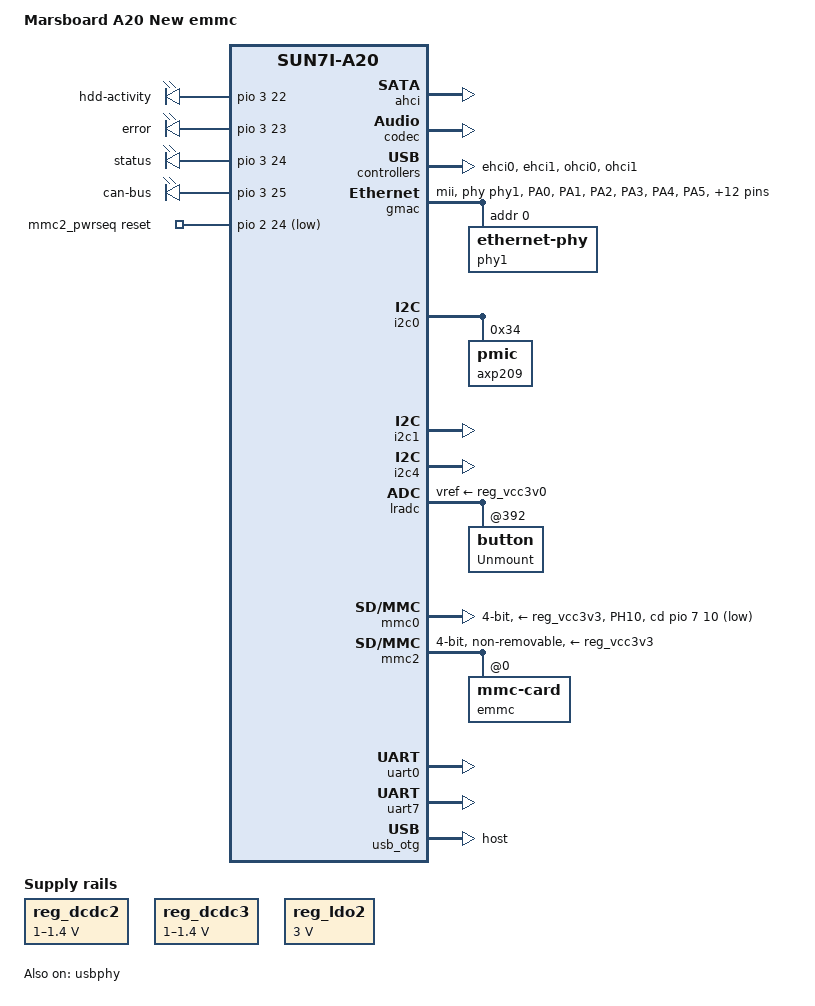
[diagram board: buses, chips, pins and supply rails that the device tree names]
/*
 * Copyright 2013 Maxime Ripard
 *
 * Maxime Ripard <maxime.ripard@free-electrons.com>
 *
 * This file is dual-licensed: you can use it either under the terms
 * of the GPL or the X11 license, at your option. Note that this dual
 * licensing only applies to this file, and not this project as a
 * whole.
 *
 *  a) This file is free software; you can redistribute it and/or
 *     modify it under the terms of the GNU General Public License as
 *     published by the Free Software Foundation; either version 2 of the
 *     License, or (at your option) any later version.
 *
 *     This file is distributed in the hope that it will be useful,
 *     but WITHOUT ANY WARRANTY; without even the implied warranty of
 *     MERCHANTABILITY or FITNESS FOR A PARTICULAR PURPOSE.  See the
 *     GNU General Public License for more details.
 *
 * Or, alternatively,
 *
 *  b) Permission is hereby granted, free of charge, to any person
 *     obtaining a copy of this software and associated documentation
 *     files (the "Software"), to deal in the Software without
 *     restriction, including without limitation the rights to use,
 *     copy, modify, merge, publish, distribute, sublicense, and/or
 *     sell copies of the Software, and to permit persons to whom the
 *     Software is furnished to do so, subject to the following
 *     conditions:
 *
 *     The above copyright notice and this permission notice shall be
 *     included in all copies or substantial portions of the Software.
 *
 *     THE SOFTWARE IS PROVIDED "AS IS", WITHOUT WARRANTY OF ANY KIND,
 *     EXPRESS OR IMPLIED, INCLUDING BUT NOT LIMITED TO THE WARRANTIES
 *     OF MERCHANTABILITY, FITNESS FOR A PARTICULAR PURPOSE AND
 *     NONINFRINGEMENT. IN NO EVENT SHALL THE AUTHORS OR COPYRIGHT
 *     HOLDERS BE LIABLE FOR ANY CLAIM, DAMAGES OR OTHER LIABILITY,
 *     WHETHER IN AN ACTION OF CONTRACT, TORT OR OTHERWISE, ARISING
 *     FROM, OUT OF OR IN CONNECTION WITH THE SOFTWARE OR THE USE OR
 *     OTHER DEALINGS IN THE SOFTWARE.
 */

/dts-v1/;
#include "sun7i-a20.dtsi"
#include "sunxi-common-regulators.dtsi"

#include <dt-bindings/gpio/gpio.h>
#include <dt-bindings/input/input.h>
#include <dt-bindings/interrupt-controller/irq.h>

/ {
	model = "Marsboard A20 New emmc";
	compatible = "haoyu,a20-marsboard-new-emmc", "allwinner,sun7i-a20";

	aliases {
		serial0 = &uart0;
		serial1 = &uart3;
		serial2 = &uart7;
	};

	chosen {
		stdout-path = "serial0:115200n8";
	};

	leds {
		compatible = "gpio-leds";
		pinctrl-names = "default";
		pinctrl-0 = <&led_pins_vt900v2>;

		hdd {
			label = "hdd-activity";
			gpios = <&pio 3 22 GPIO_ACTIVE_HIGH>; /* PD22 */
			linux,default-trigger = "disk-activity";
		};

		err {
			label = "error";
			gpios = <&pio 3 23 GPIO_ACTIVE_HIGH>; /* PD23 */
		};

		status {
			label = "status";
			gpios = <&pio 3 24 GPIO_ACTIVE_HIGH>; /* PD24 */
			default-state = "on";
			linux,default-trigger = "heartbeat";
		};

		can-bus {
			label = "can-bus";
			gpios = <&pio 3 25 GPIO_ACTIVE_HIGH>; /* PD25 */
		};
	};

	mmc2_pwrseq: pwrseq {
		compatible = "mmc-pwrseq-emmc";
		reset-gpios = <&pio 2 24 GPIO_ACTIVE_LOW>;
	};
};

&ahci {
	status = "okay";
};

&codec {
	status = "okay";
};

&cpu0 {
	cpu-supply = <&reg_dcdc2>;
};

&ehci0 {
	status = "okay";
};

&ehci1 {
	status = "okay";
};

&emac_sram {
	status = "okay";
};

&gmac {
	pinctrl-names = "default";
	pinctrl-0 = <&gmac_pins_mii_17>;
	phy = <&phy1>;
	phy-mode = "mii";
	status = "okay";

	phy1: ethernet-phy@0 {
		reg = <0>;
		max-speed = <100>;
	};
};

&i2c0 {
	status = "okay";

	axp209: pmic@34 {
		reg = <0x34>;
		interrupt-parent = <&nmi_intc>;
		interrupts = <0 IRQ_TYPE_LEVEL_LOW>;
	};
};

&i2c1 {
	status = "okay";
};

&i2c4 {
	status = "okay";
};

&lradc {
	vref-supply = <&reg_vcc3v0>;
	status = "okay";

	button@392 {
		label = "Unmount";
		linux,code = <KEY_VOLUMEDOWN>;
		channel = <0>;
		voltage = <392644>;
	};

	button@1184 {
		label = "Recover";
		linux,code = <KEY_ESC>;
		channel = <0>;
		voltage = <1184678>;
	};
};

&mmc0 {
	pinctrl-names = "default";
	pinctrl-0 = <&mmc0_pins>, <&mmc0_cd_pin_bananapi>;
	vmmc-supply = <&reg_vcc3v3>;
	bus-width = <4>;
	cd-gpios = <&pio 7 10 GPIO_ACTIVE_HIGH>; /* PH10 */	
	cd-inverted;
	max-frequency = <25000000>;
	status = "okay";	
};

&mmc2 {
	pinctrl-names = "default";
	pinctrl-0 = <&mmc2_pins>;
	vmmc-supply = <&reg_vcc3v3>;
	vqmmc-supply = <&reg_vcc3v3>;
	bus-width = <4>;
	non-removable;
	mmc-pwrseq = <&mmc2_pwrseq>;	
	max-frequency = <12000000>;   /* for relaible emmc boot */
	status = "okay";

	emmc: emmc@0 {
		reg = <0>;
		compatible = "mmc-card";
		broken-hpi;
	};
};

&ohci0 {
	status = "okay";
};

&ohci1 {
	status = "okay";
};

&otg_sram {
	status = "okay";
};

&pio {
	vcc-pa-supply = <&reg_vcc3v3>;
	vcc-pb-supply = <&reg_vcc3v3>;
	vcc-pc-supply = <&reg_vcc3v3>;
	vcc-pd-supply = <&reg_vcc3v3>;
	vcc-pe-supply = <&reg_vcc3v3>;
	vcc-pf-supply = <&reg_vcc3v3>;
	vcc-pg-supply = <&reg_vcc3v3>;
	vcc-ph-supply = <&reg_vcc3v3>;
	vcc-pi-supply = <&reg_vcc3v3>;

	i2c4_pins_vt900v2: i2c4@0 {
		pins = "PI2", "PI3";
		function = "i2c4";
	};
	uart3_pins_vt900v2: uart3@1 {
		pins = "PH0", "PH1";
		function = "uart3";
	};
	uart7_pins_vt900v2: uart7@0 {
		pins = "PI20", "PI21";
		function = "uart7";
	};

	led_pins_vt900v2: led_pins@0 {
		allwinner,pins = "PD22", "PD23", "PD24", "PD25",
			"PE0", "PE1", "PE10", "PE11";
		allwinner,function = "gpio_out";
	};

	usb0_id_detect_pin_vt900v2: usb0_id_detect_pin_vt900v2@0 {
		allwinner,pins = "PH11";
		allwinner,function = "gpio_in";
		bias-pull-up;
	};
	usb0_vbus_detect_pin_vt900v2: usb0_vbus_detect_pin_vt900v2@0 {
		allwinner,pins = "PH13";
		allwinner,function = "gpio_in";
		bias-pull-down;
	};
	usb0_vbus_pin_vt900v2: usb1_vbus_pin@0 {
		allwinner,pins = "PB9";
		allwinner,function = "gpio_out";
	};
	usb1_vbus_pin_vt900v2: usb1_vbus_pin@0 {
		allwinner,pins = "PH14";
		allwinner,function = "gpio_out";
	};
	usb2_vbus_pin_vt900v2: usb1_vbus_pin@0 {
		allwinner,pins = "PH15";
		allwinner,function = "gpio_out";
	};

	mmc0_cd_pin_bananapi: mmc0_cd_pin@0 {
		pins = "PH10";
		function = "gpio_in";
		bias-pull-up;
	};
	mmc0_power_pin_vt900v2: mmc0_power_pin@0 {
		allwinner,pins = "PI15";
		allwinner,function = "gpio_out";
		drive-strength = <20>;
	};

	gmac_pins_mii_17: gmac_mii_17@0 {
		pins = "PA0", "PA1", "PA2",
		       "PA3", "PA4", "PA5", "PA6",
		       "PA7", "PA8", "PA9", "PA10",
		       "PA11", "PA12", "PA13", "PA14",
		       "PA15", "PA16", "PA17";
		function = "gmac";
	};
};

&reg_usb0_vbus {
	status = "okay";
	pinctrl-0 = <&usb0_vbus_pin_vt900v2>;
	gpio = <&pio 1 9 GPIO_ACTIVE_HIGH>;   /* PB9 */  
	enable-active-high;
	/delete-property/ regulator-boot-on;
};
&reg_usb1_vbus {
	status = "okay";
	pinctrl-0 = <&usb1_vbus_pin_vt900v2>;  
	gpio = <&pio 7 14 GPIO_ACTIVE_HIGH>;   /* PH14 */  
	enable-active-high;
	/delete-property/ regulator-boot-on;
};


&reg_usb2_vbus {
	status = "okay";
	pinctrl-0 = <&usb2_vbus_pin_vt900v2>;
	gpio = <&pio 7 15 GPIO_ACTIVE_HIGH>;   /* PH15 */ 
	enable-active-high;
	/delete-property/ regulator-boot-on;
};
#include "axp209.dtsi"

&reg_dcdc2 {
	regulator-always-on;
	regulator-min-microvolt = <1000000>;
	regulator-max-microvolt = <1400000>;
	regulator-name = "vdd-cpu";
};

&reg_dcdc3 {
	regulator-always-on;
	regulator-min-microvolt = <1000000>;
	regulator-max-microvolt = <1400000>;
	regulator-name = "vdd-int-dll";
};

&reg_ldo2 {
	regulator-always-on;
	regulator-min-microvolt = <3000000>;
	regulator-max-microvolt = <3000000>;
	regulator-name = "avcc";
};

&reg_ahci_5v {
	status = "okay";
};

&uart0 {
	status = "okay";
};

&uart7 {
	status = "okay";
};

&usb_otg {
	dr_mode = "host";
	status = "okay";
};

&usb_power_supply {
	status = "okay";
};

&usbphy {
	pinctrl-names = "default";
	pinctrl-0 = <&usb0_id_detect_pin_vt900v2>, <&usb0_vbus_detect_pin_vt900v2>;

	usb0_id_det-gpio = <&pio 7 11 GPIO_ACTIVE_HIGH>;   /* PH11 */
	/*usb0_vbus_det-gpio = <&pio 7 13 GPIO_ACTIVE_HIGH>; /* PH13 */

	usb0_vbus_power-supply = <&usb_power_supply>;
	usb0_vbus-supply = <&reg_usb0_vbus>;
	usb1_vbus-supply = <&reg_usb1_vbus>;
	usb2_vbus-supply = <&reg_usb2_vbus>;

	status = "okay";
};

